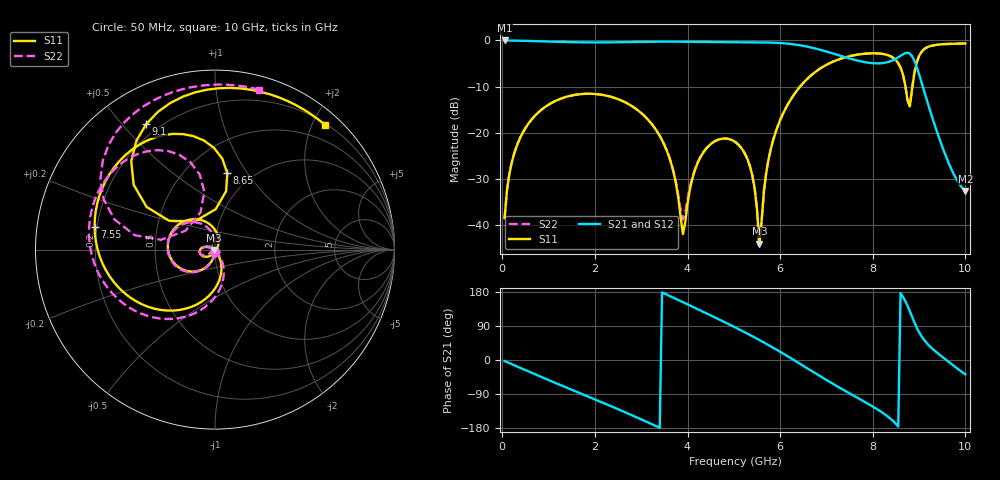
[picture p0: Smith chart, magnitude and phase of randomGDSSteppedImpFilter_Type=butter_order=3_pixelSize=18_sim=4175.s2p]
! freq	dB(S11)	phase(S11)	dB(S12)	phase(S12)
!  dB(S21)	phase(S21)	dB(S22)	phase(S22)
!S-par simulation data
#  GHz  S  DB  R 50
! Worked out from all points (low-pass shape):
!   200 points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, 50 MHz to 10 GHz, reference 50 ohm
!   highest |S21| = -0.01 dB at 50 MHz (marker M1); lowest = -32.6 dB at 10 GHz (marker M2)
!   |S21| within 3 dB of the highest: start of sweep to 7.197 GHz; 8.652 GHz to 8.813 GHz (161.1 MHz wide, 1.85 % of centre)
!   lowest |S11| = -44.0 dB at 5.55 GHz (marker M3), VSWR 1.01, Z = 49.4 - j0.256 ohm
!   |S11| at or under -10 dB: start of sweep to 6.432 GHz; 8.706 GHz to 8.856 GHz (150.2 MHz wide, 1.71 % of centre)
!   |S22| runs from -44.6 to -0.7 dB; largest |S21 - S12| = 0
!   S11 on the Smith chart (normalised r, x): 50 MHz: 1.00, -0.02; 7.55 GHz: 0.19, +0.09; 8.65 GHz: 0.78, +0.81; 9.1 GHz: 0.15, +0.58; 10 GHz: 0.22, +2.19
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0.05  -38.51 -92.2  -0.01 -2.7  -0.01 -2.7  -38.51 -92.1
0.2  -26.62 -101.1  -0.03 -10.8  -0.03 -10.8  -26.62 -100.7
0.5  -18.99 -117.7  -0.09 -26.8  -0.09 -26.8  -18.99 -116.8
1.75  -11.58 176.3  -0.42 -91.3  -0.42 -91.3  -11.59 179.9
3.4  -20.69 83.8  -0.27 -178.9  -0.27 -178.9  -20.68 99.7
3.7  -28.63 59.3  -0.26 164.1  -0.26 164.1  -28.48 93.9
3.9  -41.96 -23.2  -0.27 152.7  -0.27 152.7  -38.80 151.6
4.3  -24.94 -136.2  -0.32 129.5  -0.32 129.5  -24.82 -147.7
5.05  -22.15 175.5  -0.40 84.8  -0.40 84.8  -22.14 176.3
5.4  -29.29 157.9  -0.40 62.7  -0.40 62.7  -29.37 160.8
5.55  -44.02 -155.7  -0.41 52.9  -0.41 52.9  -44.58 -148.7
5.7  -28.66 -60.1  -0.44 42.8  -0.44 42.8  -28.51 -54.7
5.85  -21.59 -66.1  -0.48 32.4  -0.48 32.4  -21.49 -60.2
6.7  -7.31 -128.0  -1.60 -30.5  -1.60 -30.5  -7.27 -118.1
7.55  -3.31 169.1  -4.06 -91.5  -4.06 -91.5  -3.29 -176.6
8.35  -3.28 109.9  -4.61 -151.7  -4.61 -151.7  -3.30 128.7
8.65  -7.32 80.8  -3.02 167.0  -3.02 167.0  -7.41 101.5
8.8  -14.30 124.8  -2.85 128.9  -2.85 128.9  -14.18 147.6
8.95  -4.74 141.5  -5.78 85.3  -5.78 85.3  -4.67 163.4
9.1  -1.97 118.8  -10.70 54.4  -10.70 54.4  -1.95 141.4
9.45  -0.87 84.6  -21.62 13.1  -21.62 13.1  -0.87 108.7
10  -0.66 48.8  -32.64 -38.1  -32.64 -38.1  -0.68 74.5
